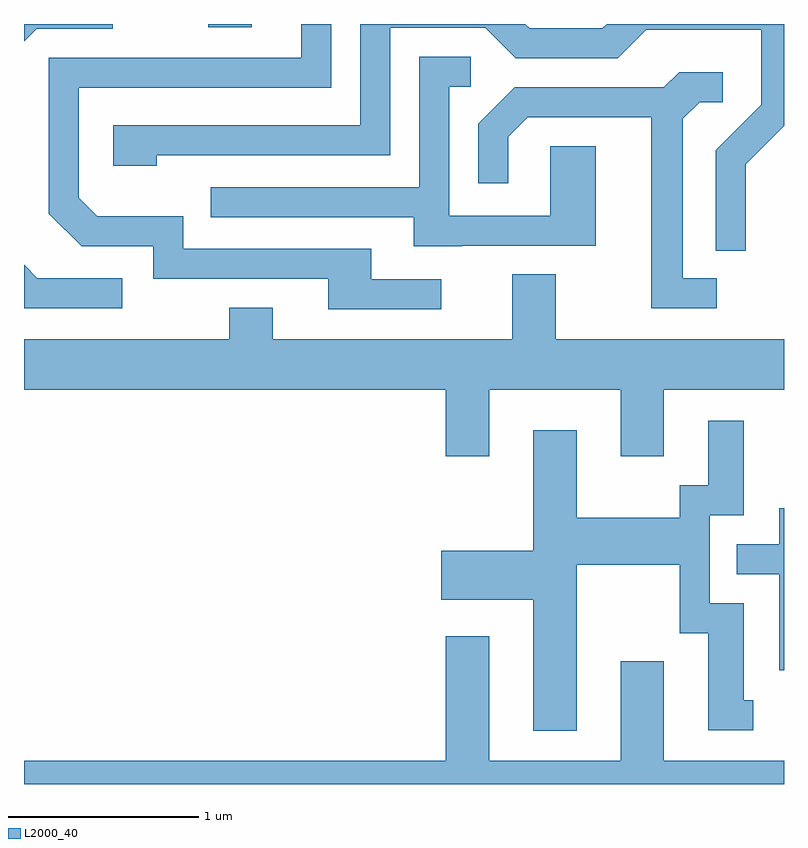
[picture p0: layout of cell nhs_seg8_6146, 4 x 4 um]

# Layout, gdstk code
import gdstk
lib = gdstk.Library(unit=1e-6, precision=1e-09)
def R(c, l, rs):  # rectangles x0, y0, x1, y1
    for r in rs: c.add(gdstk.rectangle(r[:2], r[2:], *l))
def P(c, l, *ps):  # polygons
    for p in ps: c.add(gdstk.Polygon(p, *l))
L2000_40 = (2000, 40)

nhs_seg8_6146 = lib.new_cell('nhs_seg8_6146')
R(nhs_seg8_6146, L2000_40, [(370.581,1838.326,370.809,1838.342)])
P(nhs_seg8_6146, L2000_40, [(371.808,1836.999),(371.439,1836.999),(371.439,1837.159),(370.449,1837.159),(370.449,1837.329),(369.997,1837.329),(369.899,1837.427),(369.899,1838.006),(371.229,1838.006),(371.229,1838.342),(371.071,1838.342),(371.071,1838.164),(369.741,1838.164),(369.741,1837.344),(369.914,1837.171),(370.291,1837.171),(370.291,1837.001),(371.211,1837.001),(371.211,1836.841),(371.808,1836.841)],
  [(373.409,1837.604),(373.611,1837.806),(373.611,1838.342),(372.677,1838.342),(372.654,1838.319),(372.272,1838.319),(372.249,1838.342),(371.381,1838.342),(371.381,1837.809),(370.081,1837.809),(370.081,1837.596),(370.309,1837.596),(370.309,1837.651),(371.539,1837.651),(371.539,1838.321),(372.039,1838.321),(372.199,1838.161),(372.737,1838.161),(372.887,1838.311),(373.491,1838.311),(373.491,1837.917),(373.251,1837.677),(373.251,1837.148),(373.409,1837.148)],
  [(369.677,1838.316),(370.078,1838.316),(370.078,1838.342),(369.611,1838.342),(369.611,1838.251)],
  [(371.915,1837.176),(372.619,1837.176),(372.619,1837.699),(372.381,1837.699),(372.381,1837.334),(371.849,1837.334),(371.849,1838.011),(371.963,1838.011),(371.963,1838.169),(371.691,1838.169),(371.691,1837.484),(370.593,1837.484),(370.593,1837.326),(371.661,1837.326),(371.661,1837.171),(371.915,1837.171)],
  [(373.258,1837.004),(373.079,1837.004),(373.079,1837.844),(373.167,1837.931),(373.288,1837.931),(373.288,1838.089),(373.059,1838.089),(372.979,1838.009),(372.194,1838.009),(372.001,1837.817),(372.001,1837.503),(372.159,1837.503),(372.159,1837.749),(372.262,1837.851),(372.911,1837.851),(372.911,1836.846),(373.258,1836.846)],
  [(370.128,1837.004),(369.682,1837.004),(369.611,1837.075),(369.611,1836.846),(370.128,1836.846)],
  [(371.831,1836.066),(372.059,1836.066),(372.059,1836.416),(372.751,1836.416),(372.751,1836.066),(372.979,1836.066),(372.979,1836.416),(373.611,1836.416),(373.611,1836.684),(372.409,1836.684),(372.409,1837.024),(372.181,1837.024),(372.181,1836.684),(370.919,1836.684),(370.919,1836.849),(370.691,1836.849),(370.691,1836.684),(369.611,1836.684),(369.611,1836.416),(371.831,1836.416)],
  [(372.519,1835.496),(373.061,1835.496),(373.061,1835.136),(373.211,1835.136),(373.211,1834.626),(373.448,1834.626),(373.448,1834.784),(373.399,1834.784),(373.399,1835.294),(373.219,1835.294),(373.219,1835.756),(373.399,1835.756),(373.399,1836.254),(373.211,1836.254),(373.211,1835.914),(373.061,1835.914),(373.061,1835.744),(372.519,1835.744),(372.519,1836.204),(372.291,1836.204),(372.291,1835.569),(371.806,1835.569),(371.806,1835.311),(372.291,1835.311),(372.291,1834.621),(372.519,1834.621)],
  [(373.611,1835.794),(373.586,1835.794),(373.586,1835.604),(373.363,1835.604),(373.363,1835.446),(373.586,1835.446),(373.586,1834.941),(373.611,1834.941)],
  [(373.611,1834.464),(372.979,1834.464),(372.979,1834.989),(372.751,1834.989),(372.751,1834.464),(372.059,1834.464),(372.059,1835.119),(371.831,1835.119),(371.831,1834.464),(369.611,1834.464),(369.611,1834.342),(373.611,1834.342)])

lib.write_gds('nhs_seg8_6146.gds')
